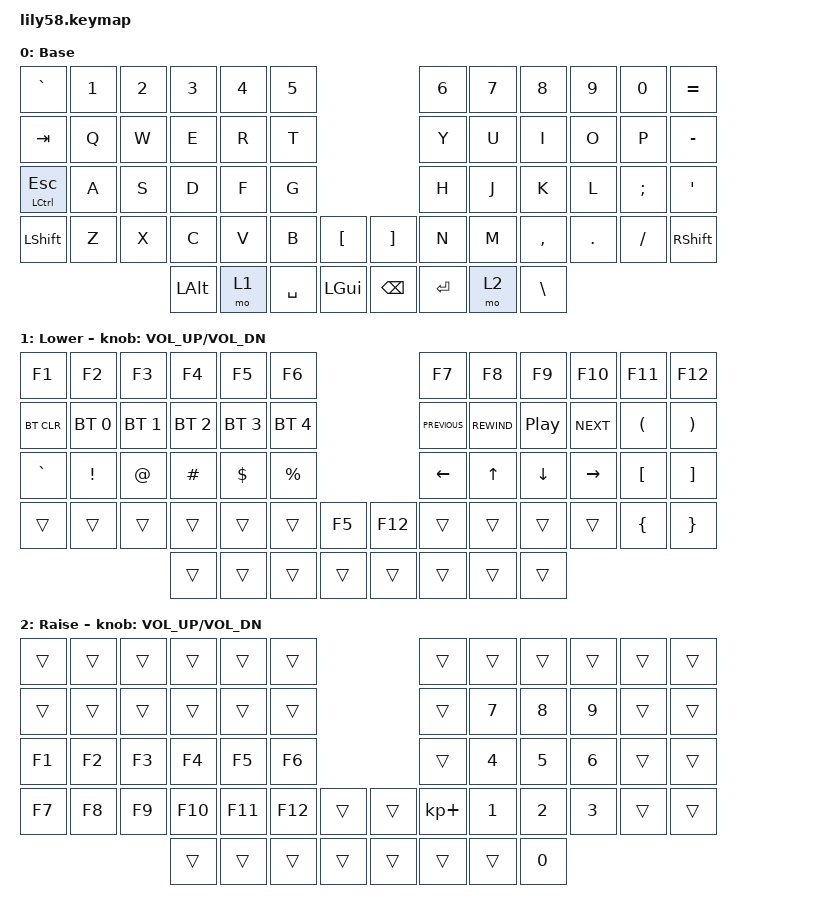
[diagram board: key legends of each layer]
/*
 * Copyright (c) 2020 The ZMK Contributors
 *
 * SPDX-License-Identifier: MIT
 */

#include <behaviors.dtsi>
#include <dt-bindings/zmk/bt.h>
#include <dt-bindings/zmk/keys.h>

/ {
    keymap {
        compatible = "zmk,keymap";

        default_layer {
            // ------------------------------------------------------------------------------------------------------------
            // |  ESC  |  1  |  2  |  3   |  4   |  5   |                   |  6   |  7    |  8    |  9   |   0   |   `   |
            // |  TAB  |  Q  |  W  |  E   |  R   |  T   |                   |  Y   |  U    |  I    |  O   |   P   |   -   |
            // |  CTRL |  A  |  S  |  D   |  F   |  G   |                   |  H   |  J    |  K    |  L   |   ;   |   '   |
            // | SHIFT |  Z  |  X  |  C   |  V   |  B   |   "["  |  |  "]"  |  N   |  M    |  ,    |  .   |   /   | SHIFT |
            //                     | ALT  | GUI  | LOWER|  SPACE |  | ENTER | RAISE| BSPC  | GUI   |

            display-name = "Base";
            bindings = <
&kp GRAVE         &kp N1  &kp N2  &kp N3    &kp N4  &kp N5                                    &kp N6     &kp N7  &kp N8         &kp N9   &kp N0    &kp EQUAL
&kp TAB           &kp Q   &kp W   &kp E     &kp R   &kp T                                     &kp Y      &kp U   &kp I          &kp O    &kp P     &kp MINUS
&mt LCTRL ESCAPE  &kp A   &kp S   &kp D     &kp F   &kp G                                     &kp H      &kp J   &kp K          &kp L    &kp SEMI  &kp SQT
&kp LSHFT         &kp Z   &kp X   &kp C     &kp V   &kp B      &kp LBKT        &kp RBKT       &kp N      &kp M   &kp COMMA      &kp DOT  &kp FSLH  &kp RSHFT
                                  &kp LALT  &mo 1   &kp SPACE  &kp LEFT_GUI    &kp BACKSPACE  &kp ENTER  &mo 2   &kp BACKSLASH
            >;
        };

        lower_layer {
            // ------------------------------------------------------------------------------------------------------------
            // | BTCLR | BT1 | BT2 |  BT3 |  BT4 |  BT5 |                   |      |       |       |      |       |       |
            // |  F1   |  F2 |  F3 |  F4  |  F5  |  F6  |                   |  F7  |  F8   |  F9   |  F10 |  F11  |  F12  |
            // |   `   |  !  |  @  |  #   |  $   |  %   |                   |  ^   |  &    |  *    |  (   |   )   |   ~   |
            // |       |     |     |      |      |      |        |  |       |      |  _    |  +    |  {   |   }   |  "|"  |
            //                     |      |      |      |        |  |       |      |       |       |

            display-name = "Lower";
            bindings = <
&kp F1      &kp F2        &kp F3        &kp F4        &kp F5        &kp F6                           &kp F7          &kp F8        &kp F9            &kp F10     &kp F11               &kp F12
&bt BT_CLR  &bt BT_SEL 0  &bt BT_SEL 1  &bt BT_SEL 2  &bt BT_SEL 3  &bt BT_SEL 4                     &kp C_PREVIOUS  &kp C_REWIND  &kp C_PLAY_PAUSE  &kp C_NEXT  &kp LEFT_PARENTHESIS  &kp RIGHT_PARENTHESIS
&kp GRAVE   &kp EXCL      &kp AT        &kp HASH      &kp DOLLAR    &kp PRCNT                        &kp LEFT        &kp UP        &kp DOWN          &kp RIGHT   &kp LEFT_BRACKET      &kp RIGHT_BRACKET
&trans      &trans        &trans        &trans        &trans        &trans        &kp F5    &kp F12  &trans          &trans        &trans            &trans      &kp LEFT_BRACE        &kp RIGHT_BRACE
                                        &trans        &trans        &trans        &trans    &trans   &trans          &trans        &trans
            >;

            sensor-bindings = <&inc_dec_kp C_VOL_UP C_VOL_DN>;
        };

        raise_layer {
            // ------------------------------------------------------------------------------------------------------------
            // |       |     |     |      |      |      |                   |      |       |       |      |       |       |
            // |   `   |  1  |  2  |  3   |  4   |  5   |                   |  6   |   7   |   8   |  9   |   0   |       |
            // |   F1  |  F2 |  F3 |  F4  |  F5  |  F6  |                   |      |   <-  |   v   |  ^   |  ->   |       |
            // |   F7  |  F8 |  F9 |  F10 |  F11 |  F12 |        |  |       |  +   |   -   |   =   |  [   |   ]   |   \   |
            //                     |      |      |      |        |  |       |      |       |       |

            display-name = "Raise";
            bindings = <
&trans  &trans  &trans  &trans   &trans   &trans                     &trans       &trans        &trans        &trans        &trans  &trans
&trans  &trans  &trans  &trans   &trans   &trans                     &trans       &kp N7        &kp N8        &kp N9        &trans  &trans
&kp F1  &kp F2  &kp F3  &kp F4   &kp F5   &kp F6                     &trans       &kp NUMBER_4  &kp NUMBER_5  &kp NUMBER_6  &trans  &trans
&kp F7  &kp F8  &kp F9  &kp F10  &kp F11  &kp F12  &trans    &trans  &kp KP_PLUS  &kp NUMBER_1  &kp NUMBER_2  &kp NUMBER_3  &trans  &trans
                        &trans   &trans   &trans   &trans    &trans  &trans       &trans        &kp NUMBER_0
            >;

            sensor-bindings = <&inc_dec_kp C_VOL_UP C_VOL_DN>;
        };
    };
};
